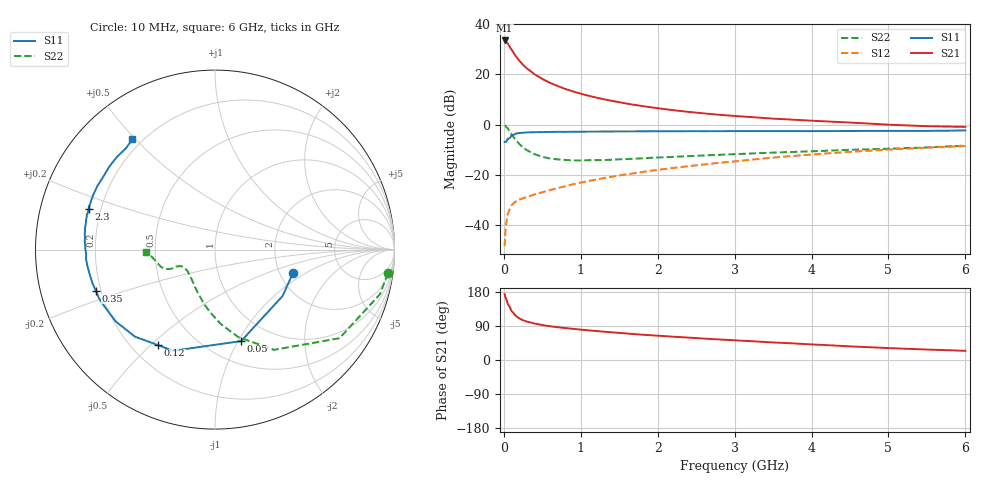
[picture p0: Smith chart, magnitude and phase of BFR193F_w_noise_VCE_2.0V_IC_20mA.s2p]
! Infineon Technologies  Discrete & RF Semiconductors
! BFR193F
! VCE =  2.0 V,  IC =  20 mA
! Common Emitter S-Parameters:  Jan 2017
# GHz  S  MA  R  50
!  f  S11  S21  S12  S22
! GHz  MAG  ANG  MAG  ANG  MAG  ANG  MAG  ANG
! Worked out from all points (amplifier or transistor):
!   77 points, 10 MHz to 6 GHz, reference 50 ohm
!   highest |S21| = 33.5 dB at 10 MHz (marker M1)
!   |S21| within 3 dB of that: start of sweep to 86.16 MHz
!   unconditionally stable (mu >= 1): 1.172 GHz to 2.843 GHz
!   at 130 MHz: K = 0.30, MSG = 29.9 dB, |S12| = -31.2 dB
!   at 2.2 GHz: K = 1.03, MAG = 10.4 dB, |S12| = -17.2 dB
!   at 6 GHz: K = 0.87, MSG = 3.8 dB, |S12| = -8.5 dB
!   lowest NFmin = 1.04 dB at 450 MHz
!   S11 on the Smith chart (normalised r, x): 10 MHz: 2.35, -0.78; 50 MHz: 0.73, -1.03; 120 MHz: 0.30, -0.53; 350 MHz: 0.18, -0.16; 2.3 GHz: 0.15, +0.15; 6 GHz: 0.16, +0.49
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0.01  0.4531 -17.0  47.58 173.6  0.0038 83.5  0.9719 -7.7
0.02  0.4568 -34.4  46.56 166.5  0.0074 79.9  0.9526 -15.1
0.05  0.5302 -74.0  41.48 149.0  0.0164 64.8  0.8516 -35.4
0.1  0.6101 -112.5  31.32 128.9  0.0248 50.3  0.6481 -59.5
0.12  0.6202 -120.9  28.2 125.0  0.0265 48.4  0.5857 -64.8
0.15  0.6589 -132.6  23.83 117.4  0.0292 45.9  0.5045 -75.1
0.2  0.6824 -144.0  18.92 109.9  0.0322 44.4  0.4148 -85.7
0.25  0.6914 -152.2  15.53 104.9  0.0341 43.5  0.3503 -94.4
0.3  0.7007 -157.2  13.18 101.3  0.0363 45.4  0.3104 -101.2
0.35  0.7028 -161.0  11.61 99.0  0.0386 46.4  0.2826 -106.1
0.4  0.708 -164.7  10.06 95.9  0.0409 47.2  0.2574 -112.1
0.5  0.7123 -169.3  8.125 92.2  0.0449 50.8  0.229 -120.5
0.6  0.717 -172.9  6.818 89.1  0.0498 53.5  0.2121 -127.2
0.8  0.7186 -178.0  5.137 84.3  0.0594 58.5  0.1983 -137.1
1.1  0.7273 176.2  3.773 78.3  0.0753 62.6  0.1957 -145.5
1.5  0.7339 170.7  2.797 71.5  0.0974 66.2  0.2042 -151.8
2.1  0.7387 164.1  2.036 62.9  0.1315 68.1  0.2249 -155.7
2.3  0.7399 162.2  1.871 60.3  0.1431 68.4  0.2321 -156.1
3.1  0.7436 155.1  1.456 50.9  0.1923 68.1  0.2622 -156.3
4.1  0.7438 145.9  1.18 40.2  0.261 64.9  0.2987 -159.4
5.1  0.7513 135.6  0.986 30.7  0.3248 59.4  0.336 -168.9
6  0.7678 126.9  0.903 24.2  0.3754 54.1  0.3829 -178.3
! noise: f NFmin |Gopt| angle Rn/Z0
0.45  1.04  0.33  168  0.06
0.9  1.12  0.39  169  0.07
1.9  1.71  0.57  -171  0.06
2.4  2.01  0.61  -161  0.1
